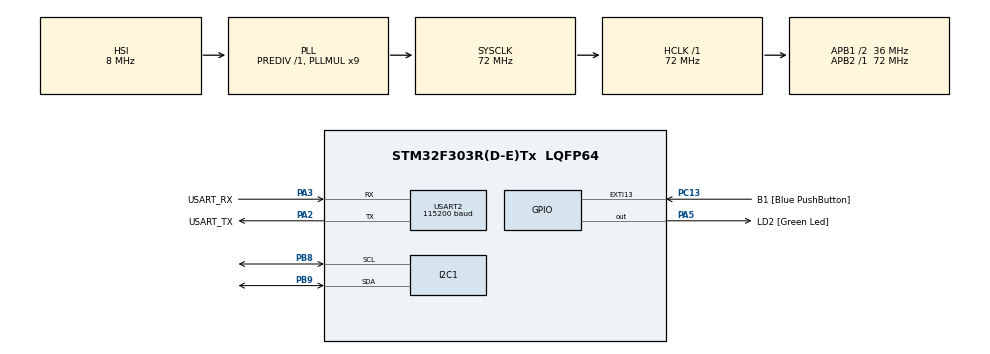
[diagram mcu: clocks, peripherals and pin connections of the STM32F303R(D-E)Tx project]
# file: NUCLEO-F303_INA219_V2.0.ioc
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Dma.Request0=USART2_TX
Dma.USART2_TX.0.Direction=DMA_MEMORY_TO_PERIPH
Dma.USART2_TX.0.Instance=DMA1_Channel7
Dma.USART2_TX.0.MemDataAlignment=DMA_MDATAALIGN_BYTE
Dma.USART2_TX.0.MemInc=DMA_MINC_ENABLE
Dma.USART2_TX.0.Mode=DMA_NORMAL
Dma.USART2_TX.0.PeriphDataAlignment=DMA_PDATAALIGN_BYTE
Dma.USART2_TX.0.PeriphInc=DMA_PINC_DISABLE
Dma.USART2_TX.0.Priority=DMA_PRIORITY_LOW
I2C1.Timing=0x00201D2B
Mcu.Family=STM32F3
Mcu.Name=STM32F303R(D-E)Tx
Mcu.Package=LQFP64
NVIC.DMA1_Channel7_IRQn=true\:0\:0\:false\:false\:true\:false\:true\:true
NVIC.PriorityGroup=NVIC_PRIORITYGROUP_0
NVIC.TIM2_IRQn=true\:0\:0\:false\:false\:true\:true\:true\:true
NVIC.USART2_IRQn=true\:0\:0\:false\:false\:true\:true\:true\:true
PA13.GPIO_Label=TMS
PA13.Mode=Serial_Wire
PA13.Signal=SYS_JTMS-SWDIO
PA14.GPIO_Label=TCK
PA14.Mode=Serial_Wire
PA14.Signal=SYS_JTCK-SWCLK
PA2.GPIO_Label=USART_TX
PA2.GPIO_Mode=GPIO_MODE_AF_PP
PA2.GPIO_PuPd=GPIO_NOPULL
PA2.GPIO_Speed=GPIO_SPEED_FREQ_LOW
PA2.Mode=Asynchronous
PA2.Signal=USART2_TX
PA3.GPIO_Label=USART_RX
PA3.GPIO_Mode=GPIO_MODE_AF_PP
PA3.GPIO_PuPd=GPIO_NOPULL
PA3.GPIO_Speed=GPIO_SPEED_FREQ_LOW
PA3.Mode=Asynchronous
PA3.Signal=USART2_RX
PA5.GPIO_Label=LD2 [Green Led]
PA5.GPIO_Mode=GPIO_MODE_OUTPUT_PP
PA5.GPIO_PuPd=GPIO_NOPULL
PA5.GPIO_Speed=GPIO_SPEED_FREQ_LOW
PA5.Signal=GPIO_Output
PB3.GPIO_Label=SWO
PB3.Signal=SYS_JTDO-TRACESWO
PB8.Mode=I2C
PB8.Signal=I2C1_SCL
PB9.Mode=I2C
PB9.Signal=I2C1_SDA
PC13.GPIO_Label=B1 [Blue PushButton]
PC13.GPIO_ModeDefaultEXTI=GPIO_MODE_IT_FALLING
PC13.Signal=GPXTI13
PC14-OSC32_IN.Mode=LSE-External-Oscillator
PC14-OSC32_IN.Signal=RCC_OSC32_IN
PC15-OSC32_OUT.Mode=LSE-External-Oscillator
PC15-OSC32_OUT.Signal=RCC_OSC32_OUT
PF0-OSC_IN.Mode=HSE-External-Clock-Source
PF0-OSC_IN.Signal=RCC_OSC_IN
PF1-OSC_OUT.Signal=RCC_OSC_OUT
ProjectManager.HeapSize=0x200
ProjectManager.StackSize=0x400
ProjectManager.TargetToolchain=CMake
RCC.AHBFreq_Value=72000000
RCC.APB1CLKDivider=RCC_HCLK_DIV2
RCC.APB1Freq_Value=36000000
RCC.APB1TimFreq_Value=72000000
RCC.APB2Freq_Value=72000000
RCC.APB2TimFreq_Value=72000000
RCC.CortexFreq_Value=72000000
RCC.HCLKFreq_Value=72000000
RCC.HSE_VALUE=8000000
RCC.HSI_VALUE=8000000
RCC.PLLM=8
RCC.PLLMUL=RCC_PLL_MUL9
RCC.PLLN=336
RCC.PLLP=RCC_PLLP_DIV4
RCC.PLLQ=7
RCC.RCC_PLLsource_Clock_Source_FROM_HSE=RCC_HSE_PREDIV_DIV2
RCC.SYSCLKFreq_VALUE=72000000
RCC.SYSCLKSourceVirtual=RCC_SYSCLKSOURCE_PLLCLK
RCC.USBFreq_Value=72000000
TIM2.Period=100-1
TIM2.Prescaler=36000-1
USART2.BaudRate=115200
USART2.VirtualMode-Asynchronous=VM_ASYNC
VP_TIM2_VS_ClockSourceINT.Mode=Internal
board=NUCLEO-F303RE

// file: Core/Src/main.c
/* USER CODE BEGIN Header */
/**
  ******************************************************************************
  * @file           : main.c
  * @brief          : Main program body
  ******************************************************************************
  * @attention
  *
  * Copyright (c) 2026 STMicroelectronics.
  * All rights reserved.
  *
  * This software is licensed under terms that can be found in the LICENSE file
  * in the root directory of this software component.
  * If no LICENSE file comes with this software, it is provided AS-IS.
  *
  ******************************************************************************
  */
/* USER CODE END Header */
#include "main.h"

/* USER CODE BEGIN Includes */
#include <stdio.h>
#include <string.h>
#include "INA219.h"
#include "stm32f3xx_hal_def.h"
#include "stm32f3xx_hal_uart.h"
/* USER CODE END Includes */

/* USER CODE BEGIN PTD */
INA219_HandleTypeDef hina219;
/* USER CODE END PTD */

I2C_HandleTypeDef hi2c1;

TIM_HandleTypeDef htim2;

UART_HandleTypeDef huart2;

/* USER CODE BEGIN PV */
float rShunt = 0.01f;
float maxCurrent = 1.0f;
char msg[64];

static volatile _Bool counterTick = 0;
/* USER CODE END PV */

void SystemClock_Config(void);
static void MX_GPIO_Init(void);
static void MX_I2C1_Init(void);
static void MX_USART2_UART_Init(void);
static void MX_TIM2_Init(void);
/* USER CODE BEGIN PFP */
void MX_INA219_Init(void);
void Task_Read_PowerMonitor(void);
/* USER CODE END PFP */

int main(void)
{

  /* MCU Configuration--------------------------------------------------------*/

  /* Reset of all peripherals, Initializes the Flash interface and the Systick. */
  HAL_Init();

  /* Configure the system clock */
  SystemClock_Config();

  /* Initialize all configured peripherals */
  MX_GPIO_Init();
  MX_I2C1_Init();
  MX_USART2_UART_Init();
  MX_TIM2_Init();
  /* USER CODE BEGIN 2 */
  MX_INA219_Init();
  HAL_TIM_Base_Start_IT(&htim2);
  /* USER CODE END 2 */

  /* Infinite loop */
  while (1)
  {

    /* USER CODE BEGIN 3 */
    Task_Read_PowerMonitor();
  }
  /* USER CODE END 3 */
}

void SystemClock_Config(void)
{
  RCC_OscInitTypeDef RCC_OscInitStruct = {0};
  RCC_ClkInitTypeDef RCC_ClkInitStruct = {0};
  RCC_PeriphCLKInitTypeDef PeriphClkInit = {0};

  /** Initializes the RCC Oscillators according to the specified parameters
  * in the RCC_OscInitTypeDef structure.
  */
  RCC_OscInitStruct.OscillatorType = RCC_OSCILLATORTYPE_HSI;
  RCC_OscInitStruct.HSIState = RCC_HSI_ON;
  RCC_OscInitStruct.HSICalibrationValue = RCC_HSICALIBRATION_DEFAULT;
  RCC_OscInitStruct.PLL.PLLState = RCC_PLL_ON;
  RCC_OscInitStruct.PLL.PLLSource = RCC_PLLSOURCE_HSI;
  RCC_OscInitStruct.PLL.PLLMUL = RCC_PLL_MUL9;
  RCC_OscInitStruct.PLL.PREDIV = RCC_PREDIV_DIV1;
  if (HAL_RCC_OscConfig(&RCC_OscInitStruct) != HAL_OK)
  {
    Error_Handler();
  }

  /** Initializes the CPU, AHB and APB buses clocks
  */
  RCC_ClkInitStruct.ClockType = RCC_CLOCKTYPE_HCLK|RCC_CLOCKTYPE_SYSCLK
                              |RCC_CLOCKTYPE_PCLK1|RCC_CLOCKTYPE_PCLK2;
  RCC_ClkInitStruct.SYSCLKSource = RCC_SYSCLKSOURCE_PLLCLK;
  RCC_ClkInitStruct.AHBCLKDivider = RCC_SYSCLK_DIV1;
  RCC_ClkInitStruct.APB1CLKDivider = RCC_HCLK_DIV2;
  RCC_ClkInitStruct.APB2CLKDivider = RCC_HCLK_DIV1;

  if (HAL_RCC_ClockConfig(&RCC_ClkInitStruct, FLASH_LATENCY_2) != HAL_OK)
  {
    Error_Handler();
  }
  PeriphClkInit.PeriphClockSelection = RCC_PERIPHCLK_USART2|RCC_PERIPHCLK_I2C1
                              |RCC_PERIPHCLK_TIM2;
  PeriphClkInit.Usart2ClockSelection = RCC_USART2CLKSOURCE_PCLK1;
  PeriphClkInit.I2c1ClockSelection = RCC_I2C1CLKSOURCE_HSI;
  PeriphClkInit.Tim2ClockSelection = RCC_TIM2CLK_HCLK;
  if (HAL_RCCEx_PeriphCLKConfig(&PeriphClkInit) != HAL_OK)
  {
    Error_Handler();
  }
}

static void MX_I2C1_Init(void)
{

  hi2c1.Instance = I2C1;
  hi2c1.Init.Timing = 0x00201D2B;
  hi2c1.Init.OwnAddress1 = 0;
  hi2c1.Init.AddressingMode = I2C_ADDRESSINGMODE_7BIT;
  hi2c1.Init.DualAddressMode = I2C_DUALADDRESS_DISABLE;
  hi2c1.Init.OwnAddress2 = 0;
  hi2c1.Init.OwnAddress2Masks = I2C_OA2_NOMASK;
  hi2c1.Init.GeneralCallMode = I2C_GENERALCALL_DISABLE;
  hi2c1.Init.NoStretchMode = I2C_NOSTRETCH_DISABLE;
  if (HAL_I2C_Init(&hi2c1) != HAL_OK)
  {
    Error_Handler();
  }

  /** Configure Analogue filter
  */
  if (HAL_I2CEx_ConfigAnalogFilter(&hi2c1, I2C_ANALOGFILTER_ENABLE) != HAL_OK)
  {
    Error_Handler();
  }

  /** Configure Digital filter
  */
  if (HAL_I2CEx_ConfigDigitalFilter(&hi2c1, 0) != HAL_OK)
  {
    Error_Handler();
  }

}

static void MX_TIM2_Init(void)
{

  TIM_ClockConfigTypeDef sClockSourceConfig = {0};
  TIM_MasterConfigTypeDef sMasterConfig = {0};

  htim2.Instance = TIM2;
  htim2.Init.Prescaler = 36000-1;
  htim2.Init.CounterMode = TIM_COUNTERMODE_UP;
  htim2.Init.Period = 100-1;
  htim2.Init.ClockDivision = TIM_CLOCKDIVISION_DIV1;
  htim2.Init.AutoReloadPreload = TIM_AUTORELOAD_PRELOAD_DISABLE;
  if (HAL_TIM_Base_Init(&htim2) != HAL_OK)
  {
    Error_Handler();
  }
  sClockSourceConfig.ClockSource = TIM_CLOCKSOURCE_INTERNAL;
  if (HAL_TIM_ConfigClockSource(&htim2, &sClockSourceConfig) != HAL_OK)
  {
    Error_Handler();
  }
  sMasterConfig.MasterOutputTrigger = TIM_TRGO_RESET;
  sMasterConfig.MasterSlaveMode = TIM_MASTERSLAVEMODE_DISABLE;
  if (HAL_TIMEx_MasterConfigSynchronization(&htim2, &sMasterConfig) != HAL_OK)
  {
    Error_Handler();
  }

}

static void MX_USART2_UART_Init(void)
{

  huart2.Instance = USART2;
  huart2.Init.BaudRate = 115200;
  huart2.Init.WordLength = UART_WORDLENGTH_8B;
  huart2.Init.StopBits = UART_STOPBITS_1;
  huart2.Init.Parity = UART_PARITY_NONE;
  huart2.Init.Mode = UART_MODE_TX_RX;
  huart2.Init.HwFlowCtl = UART_HWCONTROL_NONE;
  huart2.Init.OverSampling = UART_OVERSAMPLING_16;
  huart2.Init.OneBitSampling = UART_ONE_BIT_SAMPLE_DISABLE;
  huart2.AdvancedInit.AdvFeatureInit = UART_ADVFEATURE_NO_INIT;
  if (HAL_UART_Init(&huart2) != HAL_OK)
  {
    Error_Handler();
  }

}

static void MX_GPIO_Init(void)
{
  GPIO_InitTypeDef GPIO_InitStruct = {0};

  /* GPIO Ports Clock Enable */
  __HAL_RCC_GPIOC_CLK_ENABLE();
  __HAL_RCC_GPIOF_CLK_ENABLE();
  __HAL_RCC_GPIOA_CLK_ENABLE();
  __HAL_RCC_GPIOB_CLK_ENABLE();

  /*Configure GPIO pin Output Level */
  HAL_GPIO_WritePin(LD2_GPIO_Port, LD2_Pin, GPIO_PIN_RESET);

  /*Configure GPIO pin : B1_Pin */
  GPIO_InitStruct.Pin = B1_Pin;
  GPIO_InitStruct.Mode = GPIO_MODE_IT_FALLING;
  GPIO_InitStruct.Pull = GPIO_NOPULL;
  HAL_GPIO_Init(B1_GPIO_Port, &GPIO_InitStruct);

  /*Configure GPIO pin : LD2_Pin */
  GPIO_InitStruct.Pin = LD2_Pin;
  GPIO_InitStruct.Mode = GPIO_MODE_OUTPUT_PP;
  GPIO_InitStruct.Pull = GPIO_NOPULL;
  GPIO_InitStruct.Speed = GPIO_SPEED_FREQ_LOW;
  HAL_GPIO_Init(LD2_GPIO_Port, &GPIO_InitStruct);

}

/* USER CODE BEGIN 4 */
void MX_INA219_Init(void)
{
    if (INA219_Init(&hina219, &hi2c1, INA219_DEFAULT_ADDRESS) != HAL_OK)
    {
        snprintf(msg, sizeof(msg), "ERROR: Could not communicate with the INA219 via I2C.\r\n");
        HAL_UART_Transmit(&huart2, (uint8_t *)msg, strlen(msg), 100);
        Error_Handler();
    }

    snprintf(msg, sizeof(msg), "INA219 detected and successfully configured\r\n");
    HAL_UART_Transmit(&huart2, (uint8_t *)msg, strlen(msg), 100);

    if (INA219_SetCalibration(&hina219, rShunt, maxCurrent) != HAL_OK)
    {
        snprintf(msg, sizeof(msg), "ERROR: Sensor calibration failed.\r\n");
        HAL_UART_Transmit(&huart2, (uint8_t *)msg, strlen(msg), 100);
        Error_Handler();
    }

    snprintf(msg, sizeof(msg), "Calibration loaded successfully.\r\n");
    HAL_UART_Transmit(&huart2, (uint8_t *)msg, strlen(msg), 100);

}

void Task_Read_PowerMonitor(void)
{
    if (counterTick)
    {
        counterTick = 0;

        if (INA219_IsDataReady(&hina219))
        {
            float shuntVoltage = 0.0f;
            float busVoltage = 0.0f;
            float current = 0.0f;
            float power = 0.0f;

            HAL_StatusTypeDef status = HAL_OK;

            status |= INA219_ReadShuntVoltage_mV(&hina219, &shuntVoltage);
            status |= INA219_ReadBusVoltage_V(&hina219, &busVoltage);
            status |= INA219_ReadCurrent_A(&hina219, &current);
            status |= INA219_ReadPower_W(&hina219, &power);

            if (status == HAL_OK)
            {
                snprintf(msg, sizeof(msg), "INA219 Readings.\r\n");
                HAL_UART_Transmit(&huart2, (uint8_t *)msg, strlen(msg), 100);

                snprintf(msg, sizeof(msg), "Bus voltage:   %6.3f V\r\n", busVoltage);
                HAL_UART_Transmit(&huart2, (uint8_t *)msg, strlen(msg), 100);

                snprintf(msg, sizeof(msg), "Shunt Voltage: %6.3f mV\r\n", shuntVoltage);
                HAL_UART_Transmit(&huart2, (uint8_t *)msg, strlen(msg), 100);

                snprintf(msg, sizeof(msg), "Current:       %6.3f A (%.1f mA)\r\n", current, current * 1000.0f);
                HAL_UART_Transmit(&huart2, (uint8_t *)msg, strlen(msg), 100);

                snprintf(msg, sizeof(msg), "Power:         %6.3f W.\r\n", power);
                HAL_UART_Transmit(&huart2, (uint8_t *)msg, strlen(msg), 100);
            }
            else
            {
                snprintf(msg, sizeof(msg), "ERROR: Error al realizar la lectura I2C.\r\n");
                HAL_UART_Transmit(&huart2, (uint8_t *)msg, strlen(msg), 100);
            }
        }
    }
}

/**
  * @brief  Callback executed when the timer period elapses.
  * @note   Se ha configurado el ADC del sensor tanto para Bus como para Shunt con 128 muestras de promediado.
            Dado que el sensor mide consecutivamente la tensión del Bus y Shunt en modo continuo, el ciclo total
            de actualización de datos tarda: 68.10 ms (Shunt) + 68.10 ms (Bus) = 136.2 ms.
            La configuración del Timer genera un tick de desbordamiento cada 50 ms.
  * @param  htim Pointer to a TIM_HandleTypeDef structure that contains the configuration for the specified timer.
  * @retval None
  */
void HAL_TIM_PeriodElapsedCallback(TIM_HandleTypeDef *htim)
{
    if (htim->Instance == TIM2)
    {
        counterTick = 1;
    }
}
/* USER CODE END 4 */

void Error_Handler(void)
{
  __disable_irq();
  while (1)
  {
  }
}
